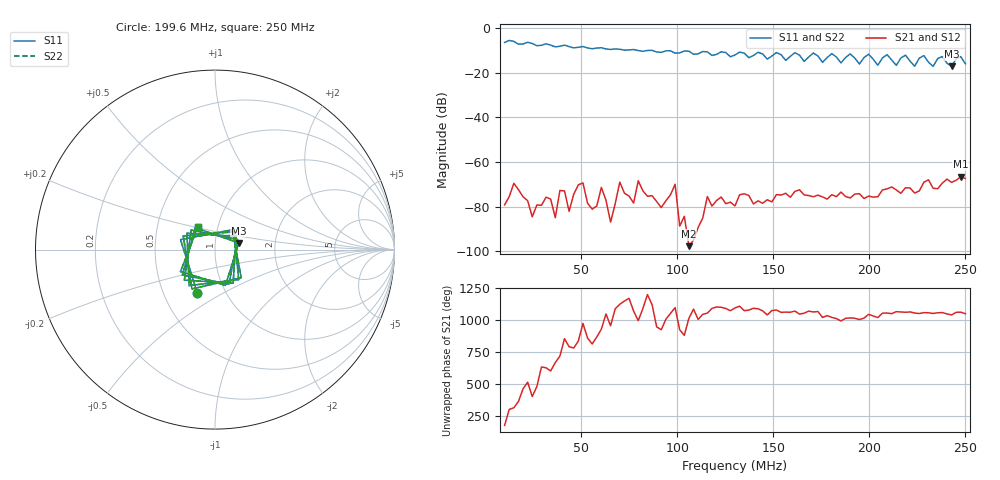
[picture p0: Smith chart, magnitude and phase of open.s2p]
# Hz S RI R 50
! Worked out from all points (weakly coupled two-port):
!   101 points, 10 MHz to 250 MHz, reference 50 ohm
!   highest |S21| = -66.67 dB at 247.6 MHz (marker M1); lowest = -97.8 dB at 106 MHz (marker M2)
!   lowest |S11| = -17.2 dB at 242.8 MHz (marker M3), VSWR 1.32, Z = 65.1 + j4.91 ohm
!   |S11| at or under -10 dB: 79.22 MHz to 85.88 MHz (6.669 MHz wide, 8.08 % of centre); 86.89 MHz to end of sweep
!   |S22| runs from -17.2 to -5.6 dB; largest |S21 - S12| = 0
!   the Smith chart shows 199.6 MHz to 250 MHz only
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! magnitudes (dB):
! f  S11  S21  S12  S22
! 10 MHz  -6.5  -79.2  -79.2  -6.5
! 14.8 MHz  -6.0  -69.6  -69.6  -6.0
! 24.4 MHz  -6.9  -84.6  -84.6  -6.9
! 38.8 MHz  -8.2  -72.8  -72.8  -8.2
! 43.6 MHz  -8.3  -82.1  -82.1  -8.3
! 50.8 MHz  -8.3  -69.4  -69.4  -8.3
! 55.6 MHz  -9.3  -81.2  -81.2  -9.3
! 60.4 MHz  -8.8  -71.4  -71.4  -8.8
! 67.6 MHz  -9.4  -78.7  -78.7  -9.4
! 70 MHz  -9.5  -69.0  -69.0  -9.5
! 77.2 MHz  -9.6  -78.4  -78.4  -9.6
! 79.6 MHz  -10.1  -68.5  -68.5  -10.1
! 91.6 MHz  -10.9  -80.5  -80.5  -10.9
! 98.8 MHz  -11.2  -70.0  -70.0  -11.2
! 101.2 MHz  -11.1  -88.8  -88.8  -11.1
! 106 MHz  -10.4  -97.8  -97.8  -10.4
! 130 MHz  -12.1  -79.7  -79.7  -12.1
! 170.8 MHz  -11.2  -75.6  -75.6  -11.2
! 211.6 MHz  -14.3  -71.2  -71.2  -14.3
! 242.8 MHz  -17.2  -69.2  -69.2  -17.2
! 247.6 MHz  -12.8  -66.7  -66.7  -12.8
! 250 MHz  -16.0  -67.4  -67.4  -16.0
